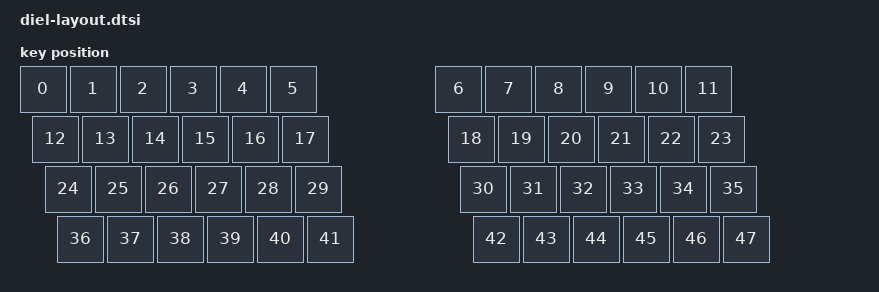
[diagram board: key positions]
/* Physical key positions for DIEL (BC-0302). */
#include <physical_layouts.dtsi>

/ {
    diel_layout: diel_layout {
        compatible = "zmk,physical-layout";
        display-name = "DIEL";

        keys  //                     w   h    x    y     rot    rx    ry
            = <&key_physical_attrs 100 100    0    0       0     0     0>
            , <&key_physical_attrs 100 100  100    0       0     0     0>
            , <&key_physical_attrs 100 100  200    0       0     0     0>
            , <&key_physical_attrs 100 100  300    0       0     0     0>
            , <&key_physical_attrs 100 100  400    0       0     0     0>
            , <&key_physical_attrs 100 100  500    0       0     0     0>
            , <&key_physical_attrs 100 100  831    0       0     0     0>
            , <&key_physical_attrs 100 100  931    0       0     0     0>
            , <&key_physical_attrs 100 100 1031    0       0     0     0>
            , <&key_physical_attrs 100 100 1131    0       0     0     0>
            , <&key_physical_attrs 100 100 1231    0       0     0     0>
            , <&key_physical_attrs 100 100 1331    0       0     0     0>
            , <&key_physical_attrs 100 100   25  100       0     0     0>
            , <&key_physical_attrs 100 100  125  100       0     0     0>
            , <&key_physical_attrs 100 100  225  100       0     0     0>
            , <&key_physical_attrs 100 100  325  100       0     0     0>
            , <&key_physical_attrs 100 100  425  100       0     0     0>
            , <&key_physical_attrs 100 100  525  100       0     0     0>
            , <&key_physical_attrs 100 100  856  100       0     0     0>
            , <&key_physical_attrs 100 100  956  100       0     0     0>
            , <&key_physical_attrs 100 100 1056  100       0     0     0>
            , <&key_physical_attrs 100 100 1156  100       0     0     0>
            , <&key_physical_attrs 100 100 1256  100       0     0     0>
            , <&key_physical_attrs 100 100 1356  100       0     0     0>
            , <&key_physical_attrs 100 100   50  200       0     0     0>
            , <&key_physical_attrs 100 100  150  200       0     0     0>
            , <&key_physical_attrs 100 100  250  200       0     0     0>
            , <&key_physical_attrs 100 100  350  200       0     0     0>
            , <&key_physical_attrs 100 100  450  200       0     0     0>
            , <&key_physical_attrs 100 100  550  200       0     0     0>
            , <&key_physical_attrs 100 100  881  200       0     0     0>
            , <&key_physical_attrs 100 100  981  200       0     0     0>
            , <&key_physical_attrs 100 100 1081  200       0     0     0>
            , <&key_physical_attrs 100 100 1181  200       0     0     0>
            , <&key_physical_attrs 100 100 1281  200       0     0     0>
            , <&key_physical_attrs 100 100 1381  200       0     0     0>
            , <&key_physical_attrs 100 100   75  300       0     0     0>
            , <&key_physical_attrs 100 100  175  300       0     0     0>
            , <&key_physical_attrs 100 100  275  300       0     0     0>
            , <&key_physical_attrs 100 100  375  300       0     0     0>
            , <&key_physical_attrs 100 100  475  300       0     0     0>
            , <&key_physical_attrs 100 100  575  300       0     0     0>
            , <&key_physical_attrs 100 100  906  300       0     0     0>
            , <&key_physical_attrs 100 100 1006  300       0     0     0>
            , <&key_physical_attrs 100 100 1106  300       0     0     0>
            , <&key_physical_attrs 100 100 1206  300       0     0     0>
            , <&key_physical_attrs 100 100 1306  300       0     0     0>
            , <&key_physical_attrs 100 100 1406  300       0     0     0>
            ;
    };
};
